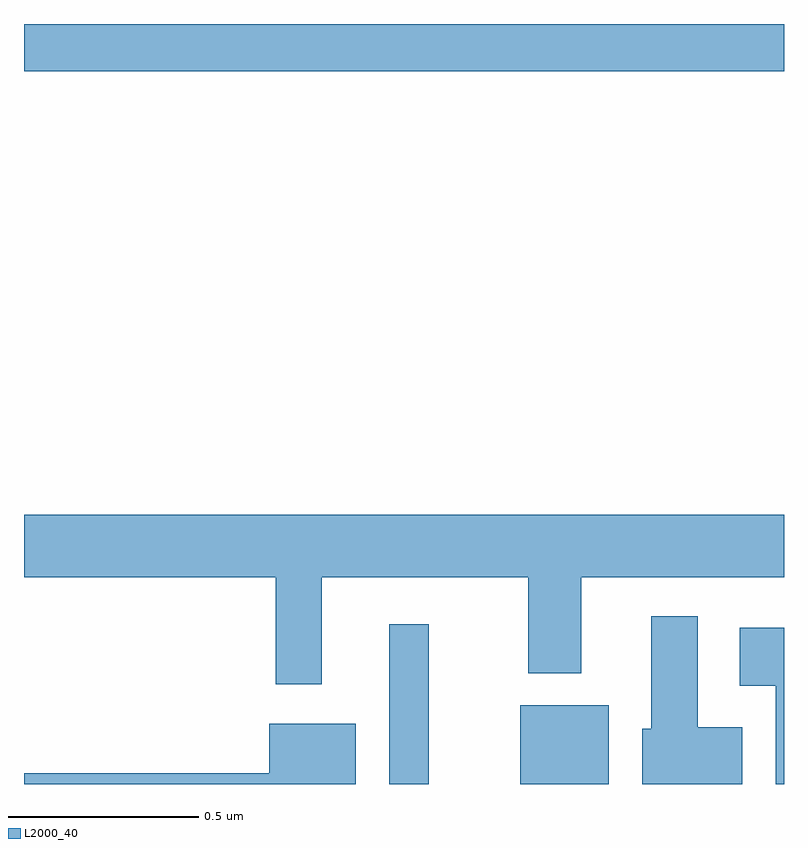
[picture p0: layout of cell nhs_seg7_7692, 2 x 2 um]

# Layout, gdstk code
import gdstk
lib = gdstk.Library(unit=1e-6, precision=1e-09)
def R(c, l, rs):  # rectangles x0, y0, x1, y1
    for r in rs: c.add(gdstk.rectangle(r[:2], r[2:], *l))
def P(c, l, *ps):  # polygons
    for p in ps: c.add(gdstk.Polygon(p, *l))
L2000_40 = (2000, 40)

nhs_seg7_7692 = lib.new_cell('nhs_seg7_7692')
R(nhs_seg7_7692, L2000_40, [(214.961,1072,215.065,1072.42), (215.306,1072,215.539,1072.207), (214,1073.876,216,1074)])
P(nhs_seg7_7692, L2000_40, [(214.783,1072.544),(215.327,1072.544),(215.327,1072.292),(215.467,1072.292),(215.467,1072.544),(216,1072.544),(216,1072.708),(214,1072.708),(214,1072.544),(214.662,1072.544),(214.662,1072.263),(214.783,1072.263)],
  [(215.89,1072.15),(215.773,1072.15),(215.773,1072.441),(215.651,1072.441),(215.651,1072.146),(215.627,1072.146),(215.627,1072),(215.89,1072)],
  [(216,1072.411),(215.883,1072.411),(215.883,1072.259),(215.978,1072.259),(215.978,1072),(216,1072)],
  [(214.873,1072.159),(214.646,1072.159),(214.646,1072.028),(214,1072.028),(214,1072),(214.873,1072)])

lib.write_gds('nhs_seg7_7692.gds')
